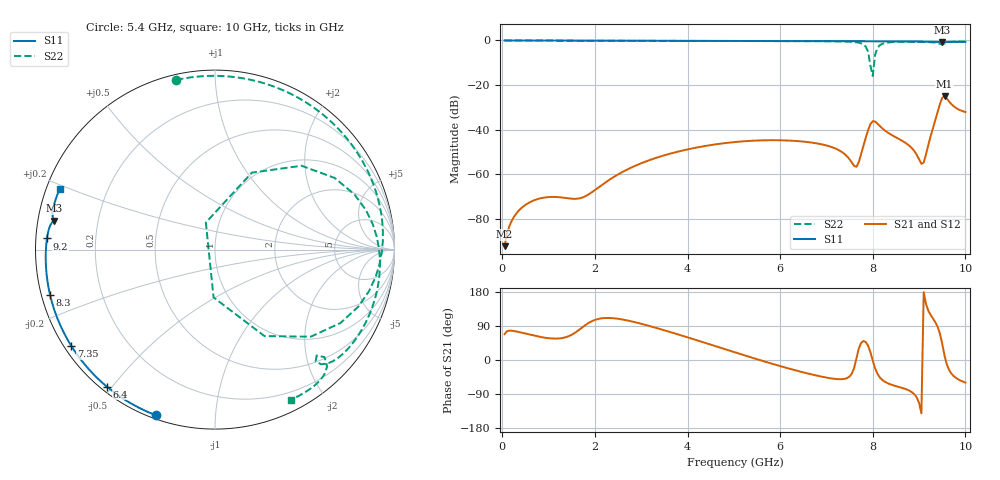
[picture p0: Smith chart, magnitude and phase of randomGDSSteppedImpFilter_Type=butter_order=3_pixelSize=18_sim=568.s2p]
! freq	dB(S11)	phase(S11)	dB(S12)	phase(S12)
!  dB(S21)	phase(S21)	dB(S22)	phase(S22)
!S-par simulation data
#  GHz  S  DB  R 50
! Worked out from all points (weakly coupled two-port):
!   200 points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, 50 MHz to 10 GHz, reference 50 ohm
!   highest |S21| = -25.06 dB at 9.55 GHz (marker M1); lowest = -92.3 dB at 50 MHz (marker M2)
!   lowest |S11| = -0.8 dB at 9.5 GHz (marker M3), VSWR 21.85, Z = 2.31 + j4.43 ohm
!   |S11| at or under -10 dB: nowhere
!   |S22| runs from -16.0 to 0.0 dB; largest |S21 - S12| = 0
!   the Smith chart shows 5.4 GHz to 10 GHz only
!   S11 on the Smith chart (normalised r, x): 5.4 GHz: 0.02, -0.70; 6.4 GHz: 0.02, -0.48; 7.35 GHz: 0.02, -0.30; 8.3 GHz: 0.02, -0.13; 9.2 GHz: 0.03, +0.03; 10 GHz: 0.04, +0.19
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0.05  -0.01 -1.1  -92.32 68.3  -92.32 68.3  -0.01 -2.8
0.95  -0.03 -20.6  -70.38 58.3  -70.38 58.3  -0.07 -54.7
1.75  -0.05 -37.7  -70.32 88.2  -70.32 88.2  -0.11 -96.9
2.6  -0.07 -55.3  -58.96 106.8  -58.96 106.8  -0.15 -137.1
3.4  -0.09 -71.3  -52.17 82.0  -52.17 82.0  -0.18 -172.1
5.05  -0.16 -103.1  -45.54 19.3  -45.54 19.3  -0.25 118.0
5.4  -0.18 -109.6  -45.01 5.9  -45.01 5.9  -0.27 102.8
6.4  -0.24 -128.2  -45.20 -29.5  -45.20 -29.5  -0.32 58.5
6.7  -0.26 -133.8  -45.89 -38.6  -45.89 -38.6  -0.34 44.8
7.35  -0.32 -146.1  -50.29 -50.5  -50.29 -50.5  -0.47 12.2
7.65  -0.35 -151.9  -56.69 5.4  -56.69 5.4  -0.84 -9.6
7.85  -0.37 -155.7  -43.54 47.2  -43.54 47.2  -2.84 -42.3
7.9  -0.37 -156.7  -40.19 37.4  -40.19 37.4  -5.11 -60.2
8  -0.38 -158.7  -36.22 -1.9  -36.22 -1.9  -15.98 108.7
8.1  -0.40 -160.7  -37.31 -36.1  -37.31 -36.1  -3.46 44.1
8.3  -0.42 -164.7  -41.00 -60.1  -41.00 -60.1  -1.01 9.1
8.35  -0.43 -165.7  -41.69 -62.8  -41.69 -62.8  -0.87 4.4
9.05  -0.52 179.6  -55.36 -140.6  -55.36 -140.6  -0.64 -33.0
9.2  -0.55 176.2  -46.83 130.1  -46.83 130.1  -0.73 -39.3
9.5  -0.80 169.9  -25.75 42.6  -25.75 42.6  -1.75 -46.2
9.55  -0.77 169.5  -25.06 11.4  -25.06 11.4  -1.36 -44.5
10  -0.64 158.5  -32.12 -59.6  -32.12 -59.6  -0.56 -63.3
